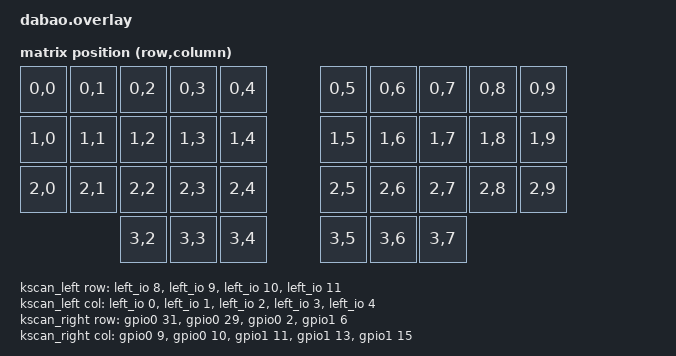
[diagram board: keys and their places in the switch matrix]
#include <dt-bindings/zmk/matrix_transform.h>
#include <dt-bindings/pinctrl/nrf-pinctrl.h>
#include "dabao.dtsi"

&{/} {
    chosen {
        zmk,kscan = &kscan_composite;
        zmk,matrix-transform = &default_transform;
        zmk,physical-layout = &dabao_layout;
    };

    default_transform: matrix_transform {
        compatible = "zmk,matrix-transform";
        columns = <10>; // 5 left + 5 right
        rows = <4>;
        map = <
        RC(0,0) RC(0,1) RC(0,2) RC(0,3) RC(0,4)     RC(0,5) RC(0,6) RC(0,7) RC(0,8) RC(0,9)
        RC(1,0) RC(1,1) RC(1,2) RC(1,3) RC(1,4)     RC(1,5) RC(1,6) RC(1,7) RC(1,8) RC(1,9)
        RC(2,0) RC(2,1) RC(2,2) RC(2,3) RC(2,4)     RC(2,5) RC(2,6) RC(2,7) RC(2,8) RC(2,9)
                        RC(3,2) RC(3,3) RC(3,4)     RC(3,5) RC(3,6) RC(3,7)
        >;
    };

    kscan_composite: kscan_composite {
        compatible = "zmk,kscan-composite";
        rows = <4>;
        columns = <10>;

        kscan0: kscan_right {
            kscan = <&kscan_right>;
            col-offset = <5>;
        };
        kscan1: kscan_left {
            kscan = <&kscan_left>;
        };
    };

    /* Left Half: MCP23017 expander (columns 0-4) */
    kscan_left: kscan_left {
        compatible = "zmk,kscan-gpio-matrix";
        diode-direction = "row2col";

        row-gpios =
            <&left_io 8  (GPIO_ACTIVE_LOW)>,
            <&left_io 9  (GPIO_ACTIVE_LOW)>,
            <&left_io 10 (GPIO_ACTIVE_LOW)>,
            <&left_io 11 (GPIO_ACTIVE_LOW)>
        ;
        col-gpios =
            <&left_io 0 (GPIO_ACTIVE_LOW | GPIO_PULL_UP)>,
            <&left_io 1 (GPIO_ACTIVE_LOW | GPIO_PULL_UP)>,
            <&left_io 2 (GPIO_ACTIVE_LOW | GPIO_PULL_UP)>,
            <&left_io 3 (GPIO_ACTIVE_LOW | GPIO_PULL_UP)>,
            <&left_io 4 (GPIO_ACTIVE_LOW | GPIO_PULL_UP)>
        ;
    };

    /* Right Half: Direct GPIO (columns 5-9) */
    kscan_right: kscan_right {
        compatible = "zmk,kscan-gpio-matrix";
        diode-direction = "col2row";

        row-gpios =
            <&gpio0 31 (GPIO_ACTIVE_HIGH | GPIO_PULL_DOWN)>,
            <&gpio0 29 (GPIO_ACTIVE_HIGH | GPIO_PULL_DOWN)>,
            <&gpio0 2 (GPIO_ACTIVE_HIGH | GPIO_PULL_DOWN)>,
            <&gpio1 6 (GPIO_ACTIVE_HIGH | GPIO_PULL_DOWN)>
        ;
        col-gpios =
            <&gpio0 9 GPIO_ACTIVE_HIGH>,
            <&gpio0 10 GPIO_ACTIVE_HIGH>,
            <&gpio1 11 GPIO_ACTIVE_HIGH>,
            <&gpio1 13 GPIO_ACTIVE_HIGH>,
            <&gpio1 15 GPIO_ACTIVE_HIGH>
        ;
    };
};

&pinctrl {
    i2c0_default: i2c0_default {
        group1 {
            psels = <NRF_PSEL(TWIM_SDA, 0, 17)>, <NRF_PSEL(TWIM_SCL, 0, 20)>;
            // bias-pull-up;
        };
    };
    i2c0_sleep: i2c0_sleep {
        group1 {
            psels = <NRF_PSEL(TWIM_SDA, 0, 17)>, <NRF_PSEL(TWIM_SCL, 0, 20)>;
            low-power-enable;
        };
    };
};

&i2c0 {
    compatible = "nordic,nrf-twim"; // I2C controller instead of generic
    status = "okay";
    pinctrl-0 = <&i2c0_default>;
    pinctrl-1 = <&i2c0_sleep>;
    pinctrl-names = "default", "sleep";
    clock-frequency = <I2C_BITRATE_FAST>;

    left_io: mcp23017@20 {
        compatible = "microchip,mcp230xx";
        status = "okay";
        gpio-controller;
        reg = <0x20>;
        #gpio-cells = <2>;
        ngpios = <16>;
    };
};

&dabao_layout {
    transform = <&default_transform>;
    kscan = <&kscan_composite>;
};
